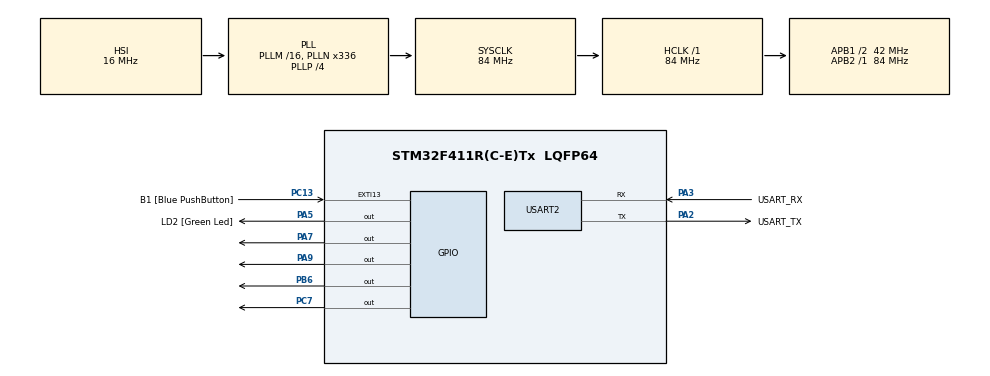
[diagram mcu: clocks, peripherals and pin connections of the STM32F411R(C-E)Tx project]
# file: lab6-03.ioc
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FREERTOS.Mutexes01=myMutex01,Dynamic,NULL
FREERTOS.Tasks01=defaultTask,24,128,StartDefaultTask,Default,NULL,Dynamic,NULL,NULL;myTask02,8,128,StartTask02,Default,NULL,Dynamic,NULL,NULL;myTask03,8,128,StartTask03,Default,NULL,Dynamic,NULL,NULL
FREERTOS.Timers01=myTimer01,Callback01,osTimerPeriodic,Default,NULL,Dynamic,NULL;myTimer02,Callback02,osTimerPeriodic,Default,NULL,Dynamic,NULL;myTimer03,Callback03,osTimerPeriodic,Default,NULL,Dynamic,NULL;myTimer04,Callback04,osTimerPeriodic,Default,NULL,Dynamic,NULL
Mcu.Family=STM32F4
Mcu.Name=STM32F411R(C-E)Tx
Mcu.Package=LQFP64
NVIC.PriorityGroup=NVIC_PRIORITYGROUP_4
PA13.GPIO_Label=TMS
PA13.Mode=Serial_Wire
PA13.Signal=SYS_JTMS-SWDIO
PA14.GPIO_Label=TCK
PA14.Mode=Serial_Wire
PA14.Signal=SYS_JTCK-SWCLK
PA2.GPIO_Label=USART_TX
PA2.Mode=Asynchronous
PA2.Signal=USART2_TX
PA3.GPIO_Label=USART_RX
PA3.Mode=Asynchronous
PA3.Signal=USART2_RX
PA5.GPIO_Label=LD2 [Green Led]
PA5.Signal=GPIO_Output
PA7.Signal=GPIO_Output
PA9.Signal=GPIO_Output
PB3.GPIO_Label=SWO
PB3.Signal=SYS_JTDO-SWO
PB6.Signal=GPIO_Output
PC13-ANTI_TAMP.GPIO_Label=B1 [Blue PushButton]
PC13-ANTI_TAMP.GPIO_ModeDefaultEXTI=GPIO_MODE_IT_FALLING
PC13-ANTI_TAMP.Signal=GPXTI13
PC14-OSC32_IN.Mode=LSE-External-Oscillator
PC14-OSC32_IN.Signal=RCC_OSC32_IN
PC15-OSC32_OUT.Mode=LSE-External-Oscillator
PC15-OSC32_OUT.Signal=RCC_OSC32_OUT
PC7.Signal=GPIO_Output
PH0\ -\ OSC_IN.Mode=HSE-External-Clock-Source
PH0\ -\ OSC_IN.Signal=RCC_OSC_IN
PH1\ -\ OSC_OUT.Mode=HSE-External-Clock-Source
PH1\ -\ OSC_OUT.Signal=RCC_OSC_OUT
ProjectManager.HeapSize=0x200
ProjectManager.StackSize=0x400
ProjectManager.TargetToolchain=STM32CubeIDE
RCC.48MHZClocksFreq_Value=84000000
RCC.AHBFreq_Value=84000000
RCC.APB1CLKDivider=RCC_HCLK_DIV2
RCC.APB1Freq_Value=42000000
RCC.APB1TimFreq_Value=84000000
RCC.APB2Freq_Value=84000000
RCC.APB2TimFreq_Value=84000000
RCC.CortexFreq_Value=84000000
RCC.FLatency-AdvancedSettings=FLASH_LATENCY_2
RCC.HCLKFreq_Value=84000000
RCC.HSE_VALUE=8000000
RCC.HSI_VALUE=16000000
RCC.PLLN=336
RCC.PLLP=RCC_PLLP_DIV4
RCC.SYSCLKFreq_VALUE=84000000
RCC.SYSCLKSource=RCC_SYSCLKSOURCE_PLLCLK
RCC.VCOOutputFreq_Value=336000000
USART2.VirtualMode=VM_ASYNC
VP_FREERTOS_VS_CMSIS_V2.Mode=CMSIS_V2
board=NUCLEO-F411RE

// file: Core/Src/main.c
/* USER CODE BEGIN Header */
/**
  ******************************************************************************
  * @file           : main.c
  * @brief          : Main program body
  ******************************************************************************
  * @attention
  *
  * Copyright (c) 2024 STMicroelectronics.
  * All rights reserved.
  *
  * This software is licensed under terms that can be found in the LICENSE file
  * in the root directory of this software component.
  * If no LICENSE file comes with this software, it is provided AS-IS.
  *
  ******************************************************************************
  */
/* USER CODE END Header */
#include "main.h"
#include "cmsis_os.h"

UART_HandleTypeDef huart2;

/* Definitions for defaultTask */
osThreadId_t defaultTaskHandle;
const osThreadAttr_t defaultTask_attributes = {
  .name = "defaultTask",
  .stack_size = 128 * 4,
  .priority = (osPriority_t) osPriorityNormal,
};
/* Definitions for myTask02 */
osThreadId_t myTask02Handle;
const osThreadAttr_t myTask02_attributes = {
  .name = "myTask02",
  .stack_size = 128 * 4,
  .priority = (osPriority_t) osPriorityLow,
};
/* Definitions for myTask03 */
osThreadId_t myTask03Handle;
const osThreadAttr_t myTask03_attributes = {
  .name = "myTask03",
  .stack_size = 128 * 4,
  .priority = (osPriority_t) osPriorityLow,
};
/* Definitions for myTimer01 */
osTimerId_t myTimer01Handle;
const osTimerAttr_t myTimer01_attributes = {
  .name = "myTimer01"
};
/* Definitions for myTimer02 */
osTimerId_t myTimer02Handle;
const osTimerAttr_t myTimer02_attributes = {
  .name = "myTimer02"
};
/* Definitions for myTimer03 */
osTimerId_t myTimer03Handle;
const osTimerAttr_t myTimer03_attributes = {
  .name = "myTimer03"
};
/* Definitions for myTimer04 */
osTimerId_t myTimer04Handle;
const osTimerAttr_t myTimer04_attributes = {
  .name = "myTimer04"
};
/* Definitions for myMutex01 */
osMutexId_t myMutex01Handle;
const osMutexAttr_t myMutex01_attributes = {
  .name = "myMutex01"
};

void SystemClock_Config(void);
static void MX_GPIO_Init(void);
static void MX_USART2_UART_Init(void);
void StartDefaultTask(void *argument);
void StartTask02(void *argument);
void StartTask03(void *argument);
void Callback01(void *argument);
void Callback02(void *argument);
void Callback03(void *argument);
void Callback04(void *argument);

/* USER CODE BEGIN 0 */
typedef struct {
	  GPIO_TypeDef* gpiox;
	  uint16_t gpio_pin;
} LEDArgument;

const LEDArgument arguments[4] = {
		  {GPIOA, GPIO_PIN_9},
		  {GPIOC, GPIO_PIN_7},
		  {GPIOB, GPIO_PIN_6},
		  {GPIOA, GPIO_PIN_7}
};

void DoLedToggle(void const* argument) {
	LEDArgument* arg = (LEDArgument*)argument;

    HAL_GPIO_TogglePin(arg->gpiox, arg->gpio_pin);
}

/* USER CODE END 0 */

int main(void)
{

  /* MCU Configuration--------------------------------------------------------*/

  /* Reset of all peripherals, Initializes the Flash interface and the Systick. */
  HAL_Init();

  /* Configure the system clock */
  SystemClock_Config();

  /* Initialize all configured peripherals */
  MX_GPIO_Init();
  MX_USART2_UART_Init();

  /* Init scheduler */
  osKernelInitialize();
  /* Create the mutex(es) */
  /* creation of myMutex01 */
  myMutex01Handle = osMutexNew(&myMutex01_attributes);

  /* Create the timer(s) */
  /* creation of myTimer01 */
  myTimer01Handle = osTimerNew(Callback01, osTimerPeriodic, NULL, &myTimer01_attributes);

  /* creation of myTimer02 */
  myTimer02Handle = osTimerNew(Callback02, osTimerPeriodic, NULL, &myTimer02_attributes);

  /* creation of myTimer03 */
  myTimer03Handle = osTimerNew(Callback03, osTimerPeriodic, NULL, &myTimer03_attributes);

  /* creation of myTimer04 */
  myTimer04Handle = osTimerNew(Callback04, osTimerPeriodic, NULL, &myTimer04_attributes);

  /* USER CODE BEGIN RTOS_TIMERS */
  /* start timers, add new ones, ... */
  osTimerStart(myTimer01Handle, 25);
  osTimerStart(myTimer02Handle, 9);
  osTimerStart(myTimer03Handle, 64);
  osTimerStart(myTimer04Handle, 32);
  /* USER CODE END RTOS_TIMERS */

  /* Create the thread(s) */
  /* creation of defaultTask */
  defaultTaskHandle = osThreadNew(StartDefaultTask, NULL, &defaultTask_attributes);

  /* creation of myTask02 */
  myTask02Handle = osThreadNew(StartTask02, NULL, &myTask02_attributes);

  /* creation of myTask03 */
  myTask03Handle = osThreadNew(StartTask03, NULL, &myTask03_attributes);

  /* Start scheduler */
  osKernelStart();

  /* We should never get here as control is now taken by the scheduler */
  /* Infinite loop */
  while (1)
  {

  }
}

void SystemClock_Config(void)
{
  RCC_OscInitTypeDef RCC_OscInitStruct = {0};
  RCC_ClkInitTypeDef RCC_ClkInitStruct = {0};

  /** Configure the main internal regulator output voltage
  */
  __HAL_RCC_PWR_CLK_ENABLE();
  __HAL_PWR_VOLTAGESCALING_CONFIG(PWR_REGULATOR_VOLTAGE_SCALE1);

  /** Initializes the RCC Oscillators according to the specified parameters
  * in the RCC_OscInitTypeDef structure.
  */
  RCC_OscInitStruct.OscillatorType = RCC_OSCILLATORTYPE_HSI;
  RCC_OscInitStruct.HSIState = RCC_HSI_ON;
  RCC_OscInitStruct.HSICalibrationValue = RCC_HSICALIBRATION_DEFAULT;
  RCC_OscInitStruct.PLL.PLLState = RCC_PLL_ON;
  RCC_OscInitStruct.PLL.PLLSource = RCC_PLLSOURCE_HSI;
  RCC_OscInitStruct.PLL.PLLM = 16;
  RCC_OscInitStruct.PLL.PLLN = 336;
  RCC_OscInitStruct.PLL.PLLP = RCC_PLLP_DIV4;
  RCC_OscInitStruct.PLL.PLLQ = 4;
  if (HAL_RCC_OscConfig(&RCC_OscInitStruct) != HAL_OK)
  {
    Error_Handler();
  }

  /** Initializes the CPU, AHB and APB buses clocks
  */
  RCC_ClkInitStruct.ClockType = RCC_CLOCKTYPE_HCLK|RCC_CLOCKTYPE_SYSCLK
                              |RCC_CLOCKTYPE_PCLK1|RCC_CLOCKTYPE_PCLK2;
  RCC_ClkInitStruct.SYSCLKSource = RCC_SYSCLKSOURCE_PLLCLK;
  RCC_ClkInitStruct.AHBCLKDivider = RCC_SYSCLK_DIV1;
  RCC_ClkInitStruct.APB1CLKDivider = RCC_HCLK_DIV2;
  RCC_ClkInitStruct.APB2CLKDivider = RCC_HCLK_DIV1;

  if (HAL_RCC_ClockConfig(&RCC_ClkInitStruct, FLASH_LATENCY_2) != HAL_OK)
  {
    Error_Handler();
  }
}

static void MX_USART2_UART_Init(void)
{

  huart2.Instance = USART2;
  huart2.Init.BaudRate = 115200;
  huart2.Init.WordLength = UART_WORDLENGTH_8B;
  huart2.Init.StopBits = UART_STOPBITS_1;
  huart2.Init.Parity = UART_PARITY_NONE;
  huart2.Init.Mode = UART_MODE_TX_RX;
  huart2.Init.HwFlowCtl = UART_HWCONTROL_NONE;
  huart2.Init.OverSampling = UART_OVERSAMPLING_16;
  if (HAL_UART_Init(&huart2) != HAL_OK)
  {
    Error_Handler();
  }

}

static void MX_GPIO_Init(void)
{
  GPIO_InitTypeDef GPIO_InitStruct = {0};

  /* GPIO Ports Clock Enable */
  __HAL_RCC_GPIOC_CLK_ENABLE();
  __HAL_RCC_GPIOH_CLK_ENABLE();
  __HAL_RCC_GPIOA_CLK_ENABLE();
  __HAL_RCC_GPIOB_CLK_ENABLE();

  /*Configure GPIO pin Output Level */
  HAL_GPIO_WritePin(GPIOA, LD2_Pin|GPIO_PIN_7|GPIO_PIN_9, GPIO_PIN_RESET);

  /*Configure GPIO pin Output Level */
  HAL_GPIO_WritePin(GPIOC, GPIO_PIN_7, GPIO_PIN_RESET);

  /*Configure GPIO pin Output Level */
  HAL_GPIO_WritePin(GPIOB, GPIO_PIN_6, GPIO_PIN_RESET);

  /*Configure GPIO pin : B1_Pin */
  GPIO_InitStruct.Pin = B1_Pin;
  GPIO_InitStruct.Mode = GPIO_MODE_IT_FALLING;
  GPIO_InitStruct.Pull = GPIO_NOPULL;
  HAL_GPIO_Init(B1_GPIO_Port, &GPIO_InitStruct);

  /*Configure GPIO pins : LD2_Pin PA7 PA9 */
  GPIO_InitStruct.Pin = LD2_Pin|GPIO_PIN_7|GPIO_PIN_9;
  GPIO_InitStruct.Mode = GPIO_MODE_OUTPUT_PP;
  GPIO_InitStruct.Pull = GPIO_NOPULL;
  GPIO_InitStruct.Speed = GPIO_SPEED_FREQ_LOW;
  HAL_GPIO_Init(GPIOA, &GPIO_InitStruct);

  /*Configure GPIO pin : PC7 */
  GPIO_InitStruct.Pin = GPIO_PIN_7;
  GPIO_InitStruct.Mode = GPIO_MODE_OUTPUT_PP;
  GPIO_InitStruct.Pull = GPIO_NOPULL;
  GPIO_InitStruct.Speed = GPIO_SPEED_FREQ_LOW;
  HAL_GPIO_Init(GPIOC, &GPIO_InitStruct);

  /*Configure GPIO pin : PB6 */
  GPIO_InitStruct.Pin = GPIO_PIN_6;
  GPIO_InitStruct.Mode = GPIO_MODE_OUTPUT_PP;
  GPIO_InitStruct.Pull = GPIO_NOPULL;
  GPIO_InitStruct.Speed = GPIO_SPEED_FREQ_LOW;
  HAL_GPIO_Init(GPIOB, &GPIO_InitStruct);

}

void StartDefaultTask(void *argument)
{
  for(;;)
  {
    osDelay(1);
  }
}

void StartTask02(void *argument)
{
  /* USER CODE BEGIN StartTask02 */
  /* Infinite loop */
	int threadID = 0; // threadID is 0 for one thread and 1 for another
	int idx = 0;
	char buffer[32];

	while(1) {
		sprintf(buffer, "TID: %d %d\r\n", threadID, idx);
		idx++;

		osMutexAcquire(myMutex01Handle, 100);
		HAL_UART_Transmit(&huart2, buffer, strlen(buffer), 100);
		osMutexRelease(myMutex01Handle);

		osDelay(100);
	}
  /* USER CODE END StartTask02 */
}

void StartTask03(void *argument)
{
  /* USER CODE BEGIN StartTask03 */
  /* Infinite loop */
	int threadID = 1; // threadID is 0 for one thread and 1 for another
	int idx = 0;
	char buffer[32];

	while(1) {
		sprintf(buffer, "TID: %d %d\r\n", threadID, idx);
		idx++;

		osMutexAcquire(myMutex01Handle, 100);
		HAL_UART_Transmit(&huart2, buffer, strlen(buffer), 100);
		osMutexRelease(myMutex01Handle);

		osDelay(100);
	}
  /* USER CODE END StartTask03 */
}

/* Callback01 function */
void Callback01(void *argument)
{
  /* USER CODE BEGIN Callback01 */
	DoLedToggle((void *)(arguments + 0));
  /* USER CODE END Callback01 */
}

/* Callback02 function */
void Callback02(void *argument)
{
  /* USER CODE BEGIN Callback02 */
	DoLedToggle((void *)(arguments + 1));
  /* USER CODE END Callback02 */
}

/* Callback03 function */
void Callback03(void *argument)
{
  /* USER CODE BEGIN Callback03 */
	DoLedToggle((void *)(arguments + 2));
  /* USER CODE END Callback03 */
}

/* Callback04 function */
void Callback04(void *argument)
{
  /* USER CODE BEGIN Callback04 */
	DoLedToggle((void *)(arguments + 3));
  /* USER CODE END Callback04 */
}

void Error_Handler(void)
{
  __disable_irq();
  while (1)
  {
  }
}
